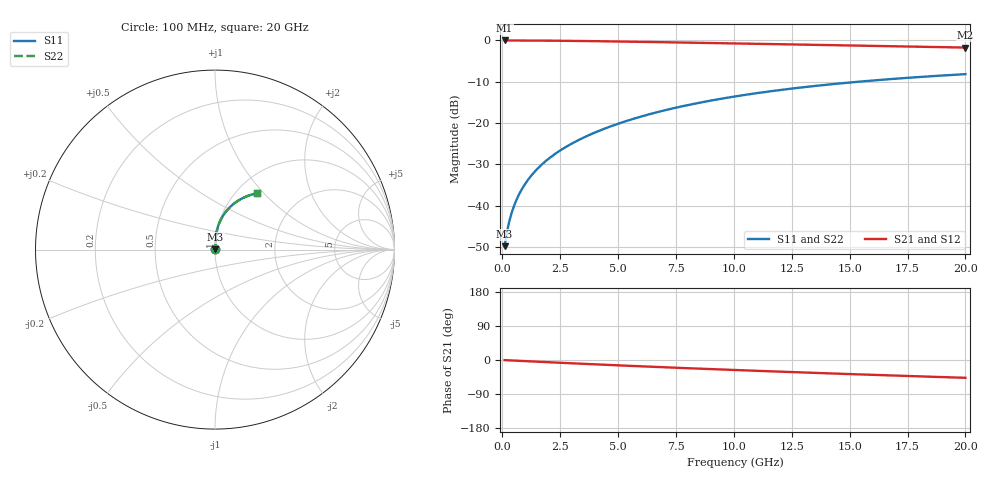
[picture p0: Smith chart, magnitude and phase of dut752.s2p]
! Touchstone file exported from HFSS 2024.1.0
!  File:  C:/UserFiles/LocalFiles/RDL_TSV_Batchsim/temp_RDL_top_752_1779851884.aedt
!  Generated:  11:20:13 AM May 27, 2026
!  Design:  RDL_top
!  Project:  temp_RDL_top_752_1779851884
!  Setup:  Setup1
!  Solution:  Sweep
! Variables:
!  dtsv = 10.80580581um
!  hbump = 3um
!  htsv = 93.34um
!  ldown = 100um
!  lrdl = 658.16um
!  p = 40
!  p1 = 59.6um
!  rhole = 1um
!  t = 450um
!  tdown = 3.915915916um
!  trdl = 3.86um
!  wdown = 15.38538539um
!  wrdl = 26.55um
# GHz S MA R 50.000000
! Terminal data exported
! Port[1] = Box2_T1
! Port[2] = Box2_T2
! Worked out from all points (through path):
!   200 points, 100 MHz to 20 GHz, reference 50 ohm
!   highest |S21| = -0.02 dB at 100 MHz (marker M1); lowest = -1.7 dB at 20 GHz (marker M2)
!   group delay of S21, straight-line fit = 6.46 ps
!   lowest |S11| = -49.8 dB at 100 MHz (marker M3), VSWR 1.01, Z = 50.2 + j0.204 ohm
!   |S11| at or under -10 dB: start of sweep to 15.42 GHz
!   |S22| runs from -49.8 to -8.2 dB; largest |S21 - S12| = 9.1e-15
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0.1  0.003219 39.1  0.9975 -0.3  0.9975 -0.3  0.003219 39.1
! Gamma 0 0 0 0
! Port Impedance 50 0 50 0
0.2  0.004759 56.0  0.9973 -0.6  0.9973 -0.6  0.004759 56.0
0.3  0.006407 64.0  0.9971 -0.9  0.9971 -0.9  0.006407 64.0
0.4  0.008079 68.9  0.9969 -1.2  0.9969 -1.2  0.008079 68.9
0.5  0.009771 72.3  0.9967 -1.5  0.9967 -1.5  0.009771 72.3
0.6  0.01148 74.8  0.9965 -1.8  0.9965 -1.8  0.01149 74.8
0.8  0.01497 78.2  0.996 -2.4  0.996 -2.4  0.01497 78.2
1.1  0.0203 81.2  0.9952 -3.3  0.9952 -3.3  0.0203 81.2
1.5  0.02757 83.5  0.9939 -4.4  0.9939 -4.4  0.02757 83.5
1.8  0.03312 84.5  0.9926 -5.3  0.9926 -5.3  0.03311 84.5
2.1  0.03875 85.1  0.9911 -6.2  0.9911 -6.2  0.03875 85.1
2.7  0.05029 85.9  0.9876 -7.9  0.9876 -7.9  0.05029 85.9
3.5  0.06625 86.0  0.9819 -10.1  0.9819 -10.1  0.06624 86.0
4.2  0.08071 85.7  0.9762 -12.0  0.9762 -12.0  0.0807 85.7
5  0.09775 84.9  0.9691 -14.1  0.9691 -14.1  0.09774 84.9
6.8  0.1374 82.0  0.9516 -18.7  0.9516 -18.7  0.1374 82.0
8.4  0.1731 78.8  0.9353 -22.6  0.9353 -22.6  0.1731 78.8
10.1  0.2105 75.0  0.9177 -26.5  0.9177 -26.5  0.2105 75.0
11.7  0.2444 71.3  0.9012 -30.1  0.9012 -30.1  0.2443 71.3
13.4  0.2785 67.4  0.8837 -33.8  0.8837 -33.8  0.2785 67.4
16.7  0.3386 60.1  0.8503 -40.6  0.8503 -40.6  0.3385 60.2
20  0.3898 53.4  0.8182 -47.0  0.8182 -47.0  0.3898 53.4
